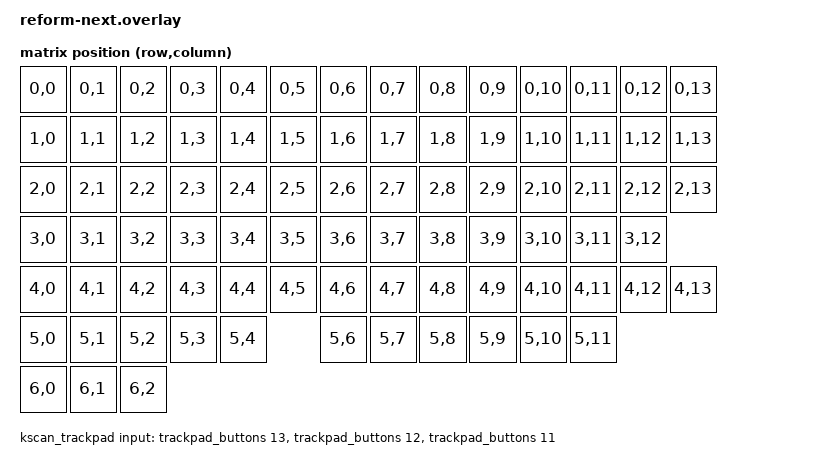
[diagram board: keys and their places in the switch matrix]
/*
  SPDX-License-Identifier: GPL-3.0-or-later
  Copyright 2026 joguSD

  Reform Next overlay: adds trackpad (IQS9150) and button (PCAL6416A) support.
*/

#include <dt-bindings/zmk/matrix_transform.h>
#include <input/processors/scaler.dtsi>
#include <input/processors/inc_dec.dtsi>

&i2c0 {
    trackpad_buttons: pcal6416a@20 {
        compatible = "nxp,pcal6416a";
        reg = <0x20>;
        gpio-controller;
        #gpio-cells = <2>;
        ngpios = <16>;
    };

    trackpad: iqs9150@56 {
        compatible = "azoteq,iqs9150";
        reg = <0x56>;
        rdy-gpios = <&gpio0 29 GPIO_ACTIVE_LOW>;
        total-rx = <20>;
        total-tx = <13>;
        x-resolution = <1825>;
        y-resolution = <1300>;
        alp-ati-compensation = [
            de 12 c4 12 cc 12 ce 12 d5 12 d7 12 d9 12
            e4 12 f2 12 e3 12 d3 12 d9 12 eb 12
        ];
        ati-multipliers = [
            21 4d
            84 5c 84 5c 84 5c 84 5c 84 5c 84 5c 84 5c
            84 5c 84 5c 84 5e 02 63 02 63 04 5d
        ];
        rx-tx-mapping = [
            00 0d 01 0e 02 0f 03 10 04 11 05 12 06 13
            07 14 08 15 09 16 19 20 21 22 23 24 25 26
            27 28 29 2a 2b 24 23 22 21 20 19 00 00 2d
            00 00 00
        ];
        touch-set-threshold = <44>;
        touch-clear-threshold = <38>;
        jitter-filter-delta = <5>;
        lp2-sample-ms = <50>;
        config-settings = [07 06];
        other-settings = [a4 00];
        alp-setup = [ff 03 00 10];
        hardware-settings = [28 02 02 18 04 04 00 44 40 4b];
        tap-enable;
        two-finger-tap-enable;
        scroll-enable;
        scroll-initial-distance = <1>;
        scroll-consecutive-distance = <1>;
        palm-reject-enable;
        tap-time-ms = <80>;
    };
};

/ {
    trackpad_listener {
        compatible = "zmk,input-listener";
        device = <&trackpad>;

        rgb_mode {
            layers = <1>;
            input-processors
                = <&zip_hscroll_scaler 1 25>, <&zip_hscroll_rgb_hue>, <&zip_vscroll_scaler 1 50>, <&zip_vscroll_rgb_sat>
                , <&zip_y_scaler 1 100>, <&zip_y_rgb_brt>, <&zip_x_scaler 0 1>
                ;
        };
    };

    kscan_trackpad: kscan_trackpad {
        compatible = "zmk,kscan-gpio-direct";
        input-gpios
            = <&trackpad_buttons 13 (GPIO_ACTIVE_LOW | GPIO_PULL_UP)>  /* P1_5 - SW1 - Left */
            , <&trackpad_buttons 12 (GPIO_ACTIVE_LOW | GPIO_PULL_UP)>  /* P1_4 - SW2 - Middle */
            , <&trackpad_buttons 11 (GPIO_ACTIVE_LOW | GPIO_PULL_UP)>  /* P1_3 - SW3 - Right */
            ;
    };

    kscan_composite: kscan_composite {
        compatible = "zmk,kscan-composite";
        columns = <14>;
        rows = <7>;

        keyboard {
            kscan = <&kscan0>;
        };

        trackpad {
            kscan = <&kscan_trackpad>;
            row-offset = <6>;
        };
    };

    chosen {
        zmk,kscan = &kscan_composite;
    };
};

&default_transform {
    columns = <14>;
    rows = <7>;
    map = <
        RC(0,0) RC(0,1) RC(0,2) RC(0,3) RC(0,4) RC(0,5) RC(0,6) RC(0,7) RC(0,8) RC(0,9) RC(0,10) RC(0,11) RC(0,12) RC(0,13)
        RC(1,0) RC(1,1) RC(1,2) RC(1,3) RC(1,4) RC(1,5) RC(1,6) RC(1,7) RC(1,8) RC(1,9) RC(1,10) RC(1,11) RC(1,12) RC(1,13)
        RC(2,0) RC(2,1) RC(2,2) RC(2,3) RC(2,4) RC(2,5) RC(2,6) RC(2,7) RC(2,8) RC(2,9) RC(2,10) RC(2,11) RC(2,12) RC(2,13)
        RC(3,0) RC(3,1) RC(3,2) RC(3,3) RC(3,4) RC(3,5) RC(3,6) RC(3,7) RC(3,8) RC(3,9) RC(3,10) RC(3,11) RC(3,12)
        RC(4,0) RC(4,1) RC(4,2) RC(4,3) RC(4,4) RC(4,5) RC(4,6) RC(4,7) RC(4,8) RC(4,9) RC(4,10) RC(4,11) RC(4,12) RC(4,13)
        RC(5,0) RC(5,1) RC(5,2) RC(5,3) RC(5,4)         RC(5,6) RC(5,7) RC(5,8) RC(5,9) RC(5,10) RC(5,11)
        RC(6,0) RC(6,1) RC(6,2)
    >;
};
